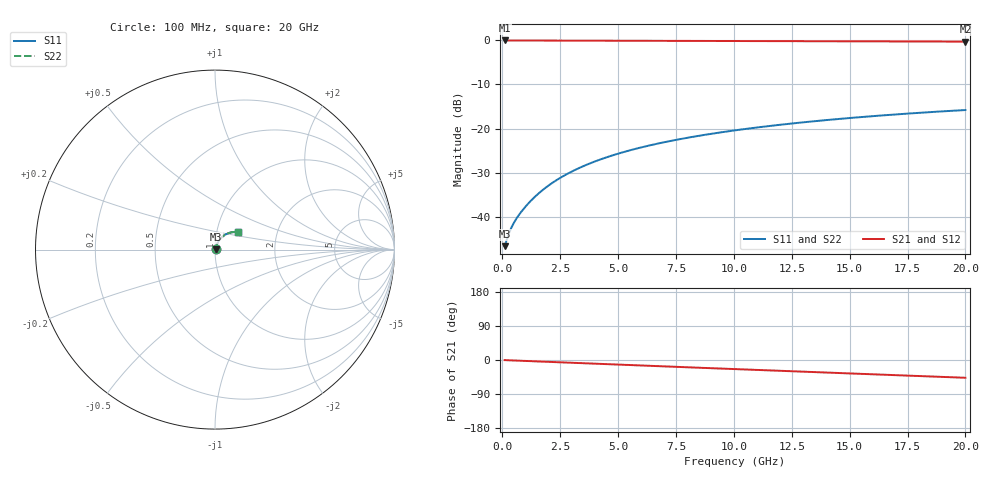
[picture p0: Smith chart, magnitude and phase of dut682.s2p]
! Touchstone file exported from HFSS 2026.1.0
!  File:  C:/ffzhzh/LocalFiles/Ansys_Project_Files/temp_train_BSMRDL_682_1783017533_46388.aedt
!  Generated:  02:40:11 AM Jul  3, 2026
!  Design:  BSMRDL
!  Project:  temp_train_BSMRDL_682_1783017533_46388
! Variables:
!  h_bsmrdl = 3.76um
!  h_ox = 20um
!  h_rdl = 5um
!  h_sub = 80um
!  h_tmrdl = 5um
!  h_tsv = 80um
!  h_via = 3um
!  l_bsmrdl = 824.51um
!  l_sub = 1224.51um
!  l_tmrdl = 200um
!  m_sub = 200um
!  pitch = 25.98um
!  r_tsv = 6um
!  s_tmrdl = 10um
!  w_bsmrdl = 18.67um
!  w_sub = 500um
!  w_tmrdl = 12um
!  x_tsv_center1 = 206um
!  x_tsv_center2 = 1049.18um
!  x_tsv_center3 = 1261.18um
!  x_tsv_center4 = 2104.36um
!  x_tsv_center5 = 2316.36um
!  x_tsv_center6 = 3159.54um
# GHz S MA R 50.000000
! Terminal data exported
! Port[1] = BSM_RDL1_1_T1
! Port[2] = BSM_RDL1_1_T2
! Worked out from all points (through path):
!   200 points, 100 MHz to 20 GHz, reference 50 ohm
!   highest |S21| = -0.04 dB at 100 MHz (marker M1); lowest = -0.3 dB at 20 GHz (marker M2)
!   group delay of S21, straight-line fit = 6.49 ps
!   lowest |S11| = -46.7 dB at 100 MHz (marker M3), VSWR 1.01, Z = 50.4 + j0.158 ohm
!   |S11| at or under -10 dB: start of sweep to end of sweep
!   |S22| runs from -46.7 to -15.8 dB; largest |S21 - S12| = 4.1e-15
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0.1  0.004635 19.8  0.9956 -0.3  0.9956 -0.3  0.004635 19.8
! Gamma 0 0 0 0
! Port Impedance 50 0 50 0
0.3  0.0066 39.4  0.9949 -0.8  0.9949 -0.8  0.006599 39.4
0.4  0.007588 44.0  0.9946 -1.0  0.9946 -1.0  0.007587 44.0
0.5  0.008521 47.4  0.9944 -1.3  0.9944 -1.3  0.008518 47.4
0.6  0.00942 50.3  0.9942 -1.5  0.9942 -1.5  0.009417 50.3
0.8  0.0112 54.9  0.9939 -2.0  0.9939 -2.0  0.01119 54.9
1  0.013 58.4  0.9937 -2.5  0.9937 -2.5  0.013 58.5
1.3  0.0158 62.3  0.9934 -3.2  0.9934 -3.2  0.01579 62.3
1.8  0.02063 66.1  0.993 -4.4  0.993 -4.4  0.02063 66.1
2.3  0.02557 67.9  0.9925 -5.6  0.9925 -5.6  0.02556 67.9
2.9  0.03152 68.7  0.9918 -7.1  0.9918 -7.1  0.03152 68.7
3.5  0.03744 68.7  0.9911 -8.5  0.9911 -8.5  0.03743 68.7
4.2  0.04424 68.0  0.9901 -10.2  0.9901 -10.2  0.04424 68.1
5  0.05184 66.9  0.9888 -12.1  0.9888 -12.1  0.05184 67.0
5.9  0.06016 65.4  0.9874 -14.3  0.9874 -14.3  0.06015 65.4
6.8  0.06821 63.6  0.9859 -16.4  0.9859 -16.4  0.06821 63.7
8.3  0.08108 60.6  0.9834 -19.9  0.9834 -19.9  0.08108 60.7
10.1  0.0957 56.9  0.9804 -24.1  0.9804 -24.1  0.0957 57.0
11.7  0.108 53.6  0.9779 -27.9  0.9779 -27.9  0.108 53.7
13.4  0.1204 50.1  0.9753 -31.8  0.9753 -31.8  0.1204 50.2
16.7  0.1426 43.2  0.9705 -39.4  0.9705 -39.4  0.1426 43.3
20  0.162 36.2  0.966 -46.9  0.966 -46.9  0.162 36.4
